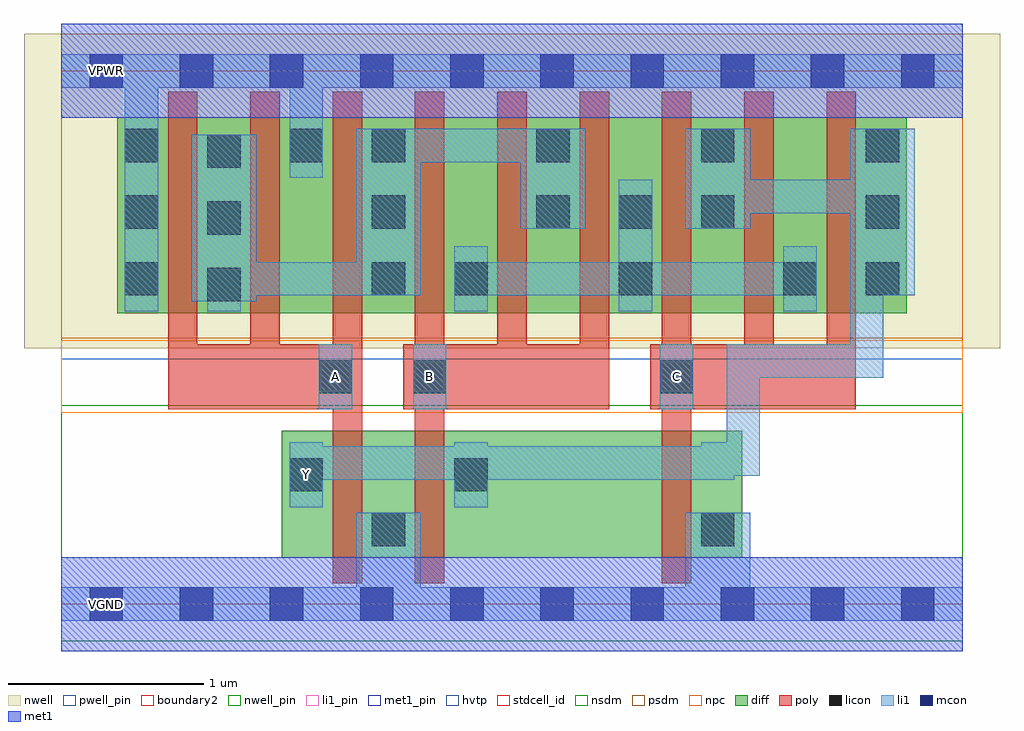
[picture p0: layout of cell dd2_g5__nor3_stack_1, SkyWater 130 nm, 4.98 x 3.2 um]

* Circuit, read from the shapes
.subckt dd2_g5__nor3_stack_1 A B C VGND VNB VPB VPWR Y
XM1 VGND A Y VNB sky130_fd_pr__nfet_01v8 w=0.65 l=0.15
XM2 Y B VGND VNB sky130_fd_pr__nfet_01v8 w=0.65 l=0.15
XM3 VGND C Y VNB sky130_fd_pr__nfet_01v8 w=0.65 l=0.15
XM4 n1 A VPWR VPB sky130_fd_pr__pfet_01v8_hvt w=1 l=0.15 m=3
XM5 n2 B n1 VPB sky130_fd_pr__pfet_01v8_hvt w=1 l=0.15 m=3
XM6 Y C n2 VPB sky130_fd_pr__pfet_01v8_hvt w=1 l=0.15 m=3
.ends

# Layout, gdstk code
import gdstk
lib = gdstk.Library(unit=1e-6, precision=1e-09)
def R(c, l, rs):  # rectangles x0, y0, x1, y1
    for r in rs: c.add(gdstk.rectangle(r[:2], r[2:], *l))
def A(c, l, x, y, w, h, nx, ny, dx, dy):  # array of equal rectangles
    R(c, l, [(x+i*dx, y+j*dy, x+i*dx+w, y+j*dy+h) for i in range(nx) for j in range(ny)])
nwell_pin = (64, 16)
nwell = (64, 20)
diff = (65, 20)
poly = (66, 20)
licon = (66, 44)
li1_pin = (67, 16)
li1 = (67, 20)
mcon = (67, 44)
met1_pin = (68, 16)
met1 = (68, 20)
hvtp = (78, 44)
stdcell_id = (81, 4)
nsdm = (93, 44)
psdm = (94, 20)
npc = (95, 20)
pwell_pin = (122, 16)
boundary2 = (236, 0)

dd2_g5__nor3_stack_1 = lib.new_cell('dd2_g5__nor3_stack_1')
R(dd2_g5__nor3_stack_1, nwell_pin, [(0.145,2.635,0.315,2.805)])
R(dd2_g5__nor3_stack_1, nwell, [(-0.19,1.305,4.79,2.91)])
A(dd2_g5__nor3_stack_1, diff, 1.46, 0.235, 0.84, 0.65, 3, 1, 0.42, 0)
A(dd2_g5__nor3_stack_1, diff, 0.62, 1.485, 0.84, 1, 7, 1, 0.42, 0)
R(dd2_g5__nor3_stack_1, diff, [(1.125,0.235,1.88,0.885), (2.72,0.235,3.475,0.885), (0.285,1.485,1.04,2.485), (3.56,1.485,4.315,2.485)])
A(dd2_g5__nor3_stack_1, poly, 0.545, 0.995, 0.99, 0.33, 3, 1, 1.26, 0)
R(dd2_g5__nor3_stack_1, poly, [(1.385,0.105,1.535,2.615), (1.805,0.105,1.955,2.615), (3.065,0.105,3.215,2.615), (0.545,0.995,0.695,2.615), (0.965,0.995,1.115,2.615), (1.265,0.995,1.535,1.325), (1.745,0.995,2.015,1.325), (2.225,0.995,2.375,2.615), (2.645,0.995,2.795,2.615), (3.005,0.995,3.275,1.325), (3.485,0.995,3.635,2.615), (3.905,0.995,4.055,2.615)])
A(dd2_g5__nor3_stack_1, licon, 0.745, 1.545, 0.17, 0.17, 1, 3, 0, 0.34)
A(dd2_g5__nor3_stack_1, licon, 0.325, 1.575, 0.17, 0.17, 1, 3, 0, 0.34)
A(dd2_g5__nor3_stack_1, licon, 2.005, 1.575, 0.17, 0.17, 3, 1, 0.84, 0)
A(dd2_g5__nor3_stack_1, licon, 2.425, 1.915, 0.17, 0.17, 3, 1, 0.42, 0)
A(dd2_g5__nor3_stack_1, licon, 1.585, 2.255, 0.17, 0.17, 4, 1, 0.84, 0)
R(dd2_g5__nor3_stack_1, licon, [(1.585,0.295,1.755,0.465), (3.265,0.295,3.435,0.465), (1.165,0.575,1.335,0.745), (2.005,0.575,2.175,0.745), (1.315,1.075,1.485,1.245), (1.795,1.075,1.965,1.245), (3.055,1.075,3.225,1.245), (1.585,1.575,1.755,1.745), (4.105,1.575,4.275,1.745), (1.585,1.915,1.755,2.085), (4.105,1.915,4.275,2.085), (1.165,2.255,1.335,2.425)])
R(dd2_g5__nor3_stack_1, li1_pin, [(0.145,-0.085,0.315,0.085), (1.175,0.585,1.325,0.735), (1.325,1.085,1.475,1.235), (1.805,1.085,1.955,1.235), (3.065,1.085,3.215,1.235), (0.145,2.635,0.315,2.805)])
A(dd2_g5__nor3_stack_1, li1, 2.005, 1.495, 0.17, 0.08, 3, 1, 0.84, 0)
R(dd2_g5__nor3_stack_1, li1, [(0,-0.085,4.6,0.085), (1.505,0.085,1.835,0.465), (3.185,0.085,3.515,0.465), (1.165,0.495,1.335,0.635), (2.005,0.495,2.175,0.635), (1.165,0.635,3.435,0.655), (1.165,0.655,3.565,0.805), (1.165,0.805,1.335,0.825), (2.005,0.805,2.175,0.825), (3.265,0.805,3.565,0.825), (3.395,0.825,3.565,1.155), (1.315,0.995,1.485,1.325), (1.795,0.995,1.965,1.325), (3.055,0.995,3.225,1.325), (3.395,1.155,4.195,1.325), (4.025,1.325,4.195,1.575), (0.325,1.495,0.495,2.635), (0.745,1.495,0.915,1.545), (0.665,1.545,0.995,1.575), (0.665,1.575,1.835,1.745), (2.005,1.575,3.855,1.745), (4.025,1.575,4.355,1.995), (0.665,1.745,0.995,2.395), (1.505,1.745,1.835,2.255), (2.005,1.745,2.175,1.825), (2.845,1.745,3.015,2.165), (3.685,1.745,3.855,1.825), (2.345,1.915,2.675,2.255), (3.185,1.915,3.515,1.995), (3.185,1.995,4.355,2.165), (3.185,2.165,3.515,2.425), (4.025,2.165,4.355,2.425), (1.165,2.175,1.335,2.635), (1.505,2.255,2.675,2.425), (0,2.635,4.6,2.805)])
A(dd2_g5__nor3_stack_1, mcon, 0.145, -0.085, 0.17, 0.17, 10, 2, 0.46, 2.72)
R(dd2_g5__nor3_stack_1, met1_pin, [(0.145,-0.085,0.315,0.085), (0.145,2.635,0.315,2.805)])
R(dd2_g5__nor3_stack_1, met1, [(0,-0.24,4.6,0.24), (0,2.48,4.6,2.96)])
R(dd2_g5__nor3_stack_1, hvtp, [(0,1.25,4.6,2.72)])
R(dd2_g5__nor3_stack_1, stdcell_id, [(0,0,4.6,2.72)])
R(dd2_g5__nor3_stack_1, nsdm, [(0,-0.19,4.6,1.015)])
R(dd2_g5__nor3_stack_1, psdm, [(0,1.355,4.6,2.91)])
R(dd2_g5__nor3_stack_1, npc, [(0,0.975,4.6,1.345)])
R(dd2_g5__nor3_stack_1, pwell_pin, [(0.145,-0.085,0.315,0.085)])
R(dd2_g5__nor3_stack_1, boundary2, [(0,0,4.6,2.72)])
dd2_g5__nor3_stack_1.add(gdstk.Label('VPWR', (0.23,2.72), layer=68, texttype=5))
dd2_g5__nor3_stack_1.add(gdstk.Label('VGND', (0.23,0), layer=68, texttype=5))
dd2_g5__nor3_stack_1.add(gdstk.Label('VPWR', (0.23,2.72), layer=67, texttype=5))
dd2_g5__nor3_stack_1.add(gdstk.Label('VGND', (0.23,0), layer=67, texttype=5))
dd2_g5__nor3_stack_1.add(gdstk.Label('A', (1.4,1.16), layer=67, texttype=5))
dd2_g5__nor3_stack_1.add(gdstk.Label('B', (1.88,1.16), layer=67, texttype=5))
dd2_g5__nor3_stack_1.add(gdstk.Label('C', (3.14,1.16), layer=67, texttype=5))
dd2_g5__nor3_stack_1.add(gdstk.Label('Y', (1.25,0.66), layer=67, texttype=5))
dd2_g5__nor3_stack_1.add(gdstk.Label('VPB', (0.23,2.72), layer=64, texttype=5))
dd2_g5__nor3_stack_1.add(gdstk.Label('VNB', (0.23,0), layer=64, texttype=59))

lib.write_gds('dd2_g5__nor3_stack_1.gds')
